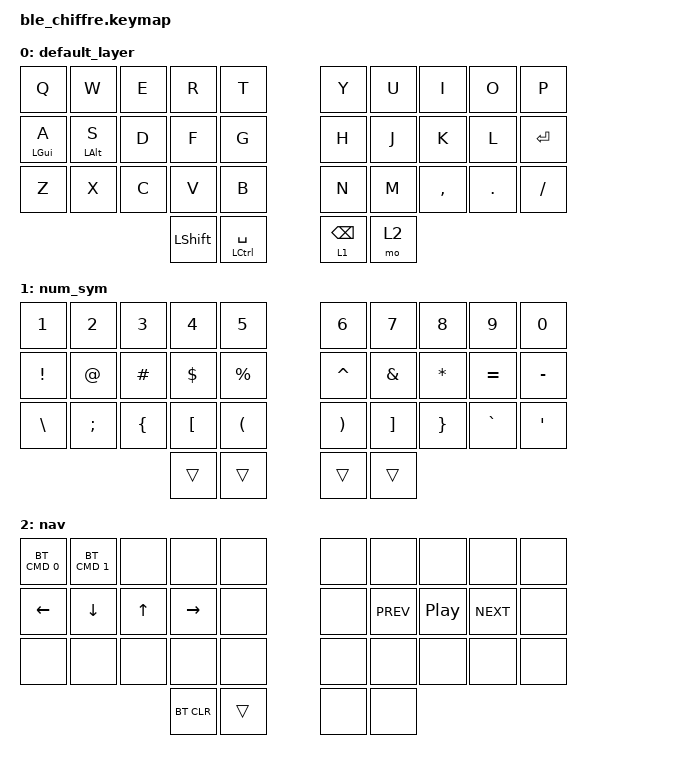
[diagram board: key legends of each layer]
/*
 * Copyright (c) 2020 The ZMK Contributors
 *
 * SPDX-License-Identifier: MIT
 */

#include <behaviors.dtsi>
#include <dt-bindings/zmk/keys.h>
#include <dt-bindings/zmk/bt.h>
#include <dt-bindings/zmk/rgb.h>

#define DEFAULT 0
#define NUM_SYM 1
#define NAV     2

/ {
	behaviors {
		
		bh: layer_taps 
		{
			compatible = "zmk,behavior-hold-tap";
			label = "Layer-Tap";
			#binding-cells = <2>;
			tapping_term_ms = <215>;
            flavor = "tap-preferred";
			bindings = <&mo>, <&kp>;
        };

        hm: homerow_mods0 
		{
			compatible = "zmk,behavior-hold-tap";
			label = "homerow mods";
			#binding-cells = <2>;
			tapping_term_ms = <230>;
            flavor = "tap-preferred";
			bindings = <&kp>, <&kp>;
        };
        
        hm1: homerow_mods1 
		{
			compatible = "zmk,behavior-hold-tap";
			label = "homerow mods";
			#binding-cells = <2>;
			tapping_term_ms = <205>;
            flavor = "tap-preferred";
			bindings = <&kp>, <&kp>;
        };

        hm2: homerow_mods2 
		{
			compatible = "zmk,behavior-hold-tap";
			label = "homerow mods 2";
			#binding-cells = <2>;
			tapping_term_ms = <250>;
            flavor = "tap-preferred";
			bindings = <&kp>, <&kp>;
        };
   	 };
};

/ {
	combos {
		compatible = "zmk,combos";
		combo_esc 
		{
			timeout-ms = <30>;
			key-positions = <13 16>;
			bindings = <&kp ESC>;
		};
		combo_tab 
		{
			timeout-ms = <35>;
			key-positions = <0 1>;
			bindings = <&kp TAB>;
		};
		combo_del 
		{
			timeout-ms = <40>;
			key-positions = <7 8 9>;
			bindings = <&kp DEL>;
		};
	};
};

/ {
    keymap 
	{
    compatible = "zmk,keymap";

    default_layer {
            bindings = <
    &kp Q &kp W &kp E &kp R &kp T &kp Y &kp U &kp I &kp O &kp P
    &hm2 LGUI A &hm LALT S &kp D &kp F &kp G &kp H &kp J &kp K &kp L &kp RET
    &kp Z &kp X &kp C &kp V &kp B &kp N &kp M &kp COMMA &kp DOT &kp FSLH
    &kp LSHFT &hm1 LCTRL SPACE &bh 1 BSPC &mo 2 
            >;
        };

    num_sym {
            bindings = <
    &kp N1 &kp N2 &kp N3 &kp N4 &kp N5 &kp N6 &kp N7 &kp N8 &kp N9 &kp N0
    &kp EXCL &kp AT &kp POUND &kp DLLR &kp PRCNT &kp CARET &kp AMPS &kp STAR &kp EQUAL &kp MINUS
    &kp BSLH &kp SEMI &kp LBRC &kp LBKT &kp LPAR &kp RPAR &kp RBKT &kp RBRC &kp GRAVE &kp SQT
    &trans &trans &trans &trans
            >;
        };

    nav {
            bindings = <
    &bt BT_SEL_CMD 0 &bt BT_SEL_CMD 1 &none &none &none &none &none &none &none &none
    &kp LEFT &kp DOWN &kp UP &kp RIGHT &none &none &kp C_PREV &kp C_PP &kp C_NEXT &none
    &none &none &none &none &none &none &none &none &none &none
    &bt BT_CLR &trans &none &none
            >;
        };
    };
};
